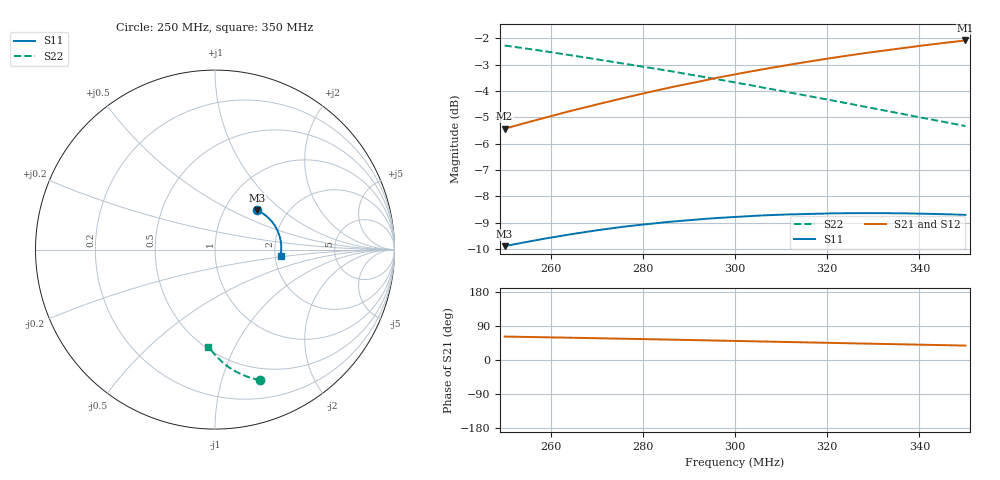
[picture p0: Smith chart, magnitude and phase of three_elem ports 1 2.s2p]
#  HZ  S  DB  R  50.00
! Rohde & Schwarz Vector Network Analyzer
! Rohde-Schwarz,ZNL3-2Port,1323001203101687,1.37.1.9-20.11.2.22
! Created: UTC 11/14/2023, 3:59:33 PM
! freq[Hz]  db:S11  ang:S11  db:S21  ang:S21  db:S12  ang:S12  db:S22  ang:S22
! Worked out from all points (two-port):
!   801 points, 250 MHz to 350 MHz, reference 50 ohm
!   highest |S21| = -2.08 dB at 350 MHz (marker M1); lowest = -5.4 dB at 250 MHz (marker M2)
!   |S21| within 3 dB of the highest: 257.3 MHz to end of sweep
!   lowest |S11| = -9.9 dB at 250 MHz (marker M3), VSWR 1.94, Z = 70.4 + j34.5 ohm
!   |S11| at or under -10 dB: nowhere
!   |S22| runs from -5.3 to -2.3 dB; largest |S21 - S12| = 0.0049
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2.5e8  -9.90 43.5  -5.44 61.8  -5.44 61.3  -2.28 -71.0
2.505e8  -9.88 43.2  -5.41 61.7  -5.41 61.2  -2.29 -71.2
2.58125e8  -9.63 39.0  -5.04 60.2  -5.04 59.7  -2.48 -73.2
2.62625e8  -9.50 36.6  -4.84 59.2  -4.84 58.7  -2.59 -74.4
2.6675e8  -9.38 34.3  -4.65 58.3  -4.65 57.8  -2.71 -75.5
2.7125e8  -9.27 31.9  -4.46 57.2  -4.46 56.8  -2.83 -76.7
2.7525e8  -9.17 29.8  -4.29 56.3  -4.29 55.9  -2.94 -77.7
2.7875e8  -9.10 27.9  -4.15 55.5  -4.15 55.1  -3.04 -78.6
2.83375e8  -9.01 25.5  -3.97 54.4  -3.96 54.0  -3.17 -79.8
2.87375e8  -8.95 23.5  -3.81 53.5  -3.81 53.1  -3.29 -80.8
2.91375e8  -8.89 21.4  -3.67 52.5  -3.66 52.1  -3.41 -81.8
2.96e8  -8.83 19.1  -3.50 51.3  -3.50 51.0  -3.55 -82.8
3e8  -8.79 17.1  -3.37 50.3  -3.36 50.0  -3.68 -83.8
3.08e8  -8.72 13.1  -3.12 48.3  -3.11 48.0  -3.93 -85.6
3.1225e8  -8.69 11.1  -2.99 47.3  -2.98 47.0  -4.07 -86.5
3.1675e8  -8.67 9.0  -2.86 46.2  -2.85 45.8  -4.22 -87.4
3.245e8  -8.64 5.4  -2.66 44.2  -2.64 43.9  -4.47 -89.0
3.28625e8  -8.64 3.5  -2.55 43.2  -2.54 42.9  -4.61 -89.9
3.33375e8  -8.65 1.4  -2.44 42.1  -2.43 41.7  -4.77 -90.8
3.41e8  -8.67 -1.9  -2.27 40.2  -2.25 39.9  -5.03 -92.3
3.48625e8  -8.70 -5.1  -2.11 38.4  -2.10 38.0  -5.29 -93.7
3.5e8  -8.71 -5.7  -2.08 38.1  -2.07 37.7  -5.33 -93.9
